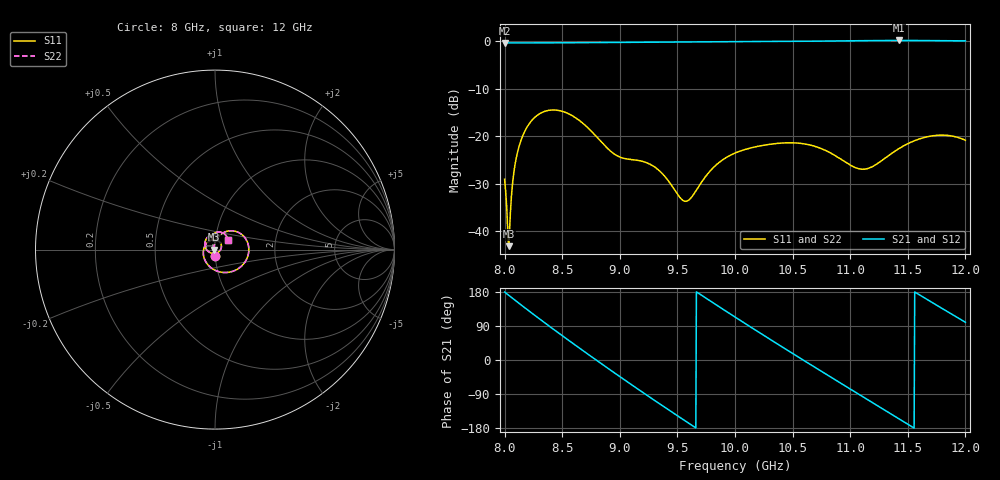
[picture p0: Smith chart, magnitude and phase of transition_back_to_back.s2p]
! Back-to-back MSL-SIW transition, taper width 7.5 mm
! openEMS v0.37 FDTD, reciprocal & symmetric: S22=S11, S12=S21
# GHz S MA R 50
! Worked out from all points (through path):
!   801 points, 8 GHz to 12 GHz, reference 50 ohm
!   highest |S21| = 0.11 dB at 11.42 GHz (marker M1); lowest = -0.4 dB at 8 GHz (marker M2)
!   lowest |S11| = -43.1 dB at 8.035 GHz (marker M3), VSWR 1.01, Z = 49.3 - j0.0124 ohm
!   |S11| at or under -10 dB: start of sweep to end of sweep
!   |S22| runs from -43.1 to -14.5 dB; largest |S21 - S12| = 0
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8  0.03533 -93.6  0.955 179.4  0.955 179.4  0.03533 -93.6
8.035  0.007007 -179.0  0.9554 171.0  0.9554 171.0  0.007007 -179.0
8.105  0.06222 79.9  0.9556 154.3  0.9556 154.3  0.06222 79.9
8.22  0.1385 49.3  0.9553 127.5  0.9553 127.5  0.1385 49.3
8.435  0.1884 -3.3  0.956 78.7  0.956 78.7  0.1884 -3.3
8.67  0.1398 -66.1  0.9608 26.9  0.9608 26.9  0.1398 -66.1
8.945  0.06593 -170.1  0.9675 -32.2  0.9675 -32.2  0.06593 -170.1
9.145  0.05604 102.8  0.9708 -74.3  0.9708 -74.3  0.05604 102.8
9.335  0.0443 39.2  0.9739 -113.5  0.9739 -113.5  0.0443 39.2
9.555  0.02096 -63.2  0.9784 -158.2  0.9784 -158.2  0.02096 -63.2
9.665  0.02721 -132.4  0.9808 179.7  0.9808 179.7  0.02721 -132.4
9.82  0.04785 178.9  0.9837 148.9  0.9837 148.9  0.04785 178.9
10  0.06652 148.2  0.9862 113.4  0.9862 113.4  0.06652 148.2
10.285  0.08166 118.5  0.9885 58.2  0.9885 58.2  0.08166 118.5
10.485  0.0853 101.5  0.9907 20.1  0.9907 20.1  0.0853 101.5
10.67  0.07979 86.4  0.9941 -14.8  0.9941 -14.8  0.07979 86.4
11.015  0.04867 79.4  1.004 -79.4  1.004 -79.4  0.04867 79.4
11.17  0.04658 97.2  1.009 -108.2  1.009 -108.2  0.04658 97.2
11.335  0.0628 105.6  1.012 -138.9  1.012 -138.9  0.0628 105.6
11.42  0.07369 103.0  1.012 -154.7  1.012 -154.7  0.07369 103.0
11.68  0.09932 80.4  1.009 157.5  1.009 157.5  0.09932 80.4
12  0.09061 37.0  1.003 99.6  1.003 99.6  0.09061 37.0
